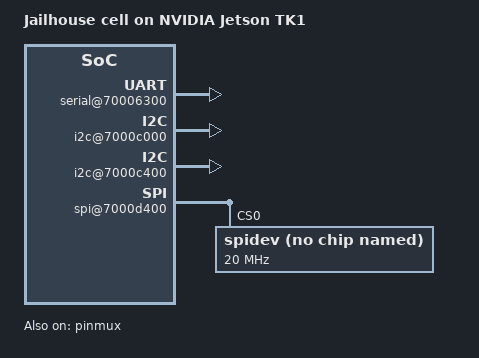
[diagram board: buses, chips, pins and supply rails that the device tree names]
/*
 * Jailhouse, a Linux-based partitioning hypervisor
 *
 * Device tree for Linux inmate test on Jetson TK1 board,
 * corresponds to configs/jetson-tk1-linux-demo.c
 *
 * Copyright (c) Siemens AG, 2016
 *
 * Authors:
 *  Jan Kiszka <jan.kiszka@siemens.com>
 *
 * This work is licensed under the terms of the GNU GPL, version 2.  See
 * the COPYING file in the top-level directory.
 */

#include <dt-bindings/interrupt-controller/arm-gic.h>
#include <dt-bindings/pinctrl/pinctrl-tegra.h>
#include <dt-bindings/gpio/tegra-gpio.h>

/dts-v1/;

/ {
	model = "Jailhouse cell on NVIDIA Jetson TK1";

	#address-cells = <1>;
	#size-cells = <1>;

	interrupt-parent = <&gic>;

	hypervisor {
		compatible = "jailhouse,cell";
	};

	aliases {
		spi0 = "/spi@7000d400";
	};

	cpus {
		#address-cells = <1>;
		#size-cells = <0>;

		cpu@2 {
			compatible = "arm,cortex-a15";
			device_type = "cpu";
			reg = <0x2>;
		};

		cpu@3 {
			compatible = "arm,cortex-a15";
			device_type = "cpu";
			reg = <0x3>;
		};
	};

	psci {
		compatible = "arm,psci-0.2";
		method = "smc";
	};

	gic: interrupt-controller@50041000 {
		compatible = "arm,cortex-a7-gic", "arm,cortex-a15-gic";
		reg = <0x50041000 0x1000>,
		      <0x50042000 0x1000>;
		interrupt-controller;
		#interrupt-cells = <3>;
	};

	timer {
		compatible = "arm,armv7-timer";
		interrupts = <GIC_PPI 13
				(GIC_CPU_MASK_SIMPLE(4) | IRQ_TYPE_LEVEL_LOW)>,
			     <GIC_PPI 14
				(GIC_CPU_MASK_SIMPLE(4) | IRQ_TYPE_LEVEL_LOW)>,
			     <GIC_PPI 11
				(GIC_CPU_MASK_SIMPLE(4) | IRQ_TYPE_LEVEL_LOW)>,
			     <GIC_PPI 10
				(GIC_CPU_MASK_SIMPLE(4) | IRQ_TYPE_LEVEL_LOW)>;
	};

	serial@70006300 {
		compatible = "nvidia,tegra124-uart", "nvidia,tegra20-uart";
		reg = <0x70006300 0x40>;
		reg-shift = <2>;
		interrupts = <GIC_SPI 90 IRQ_TYPE_LEVEL_HIGH>;
		clock-frequency = <408000000>;
		status = "okay";
	};

	jailhouse_car: clock@60006000 {
		compatible = "jailhouse,jailhouse-car";
		reg = <0x60006000 0x1000>;
		#clock-cells = <1>;
		#reset-cells = <1>;
	};

	apbdma: dma@60020000 {
		compatible = "nvidia,tegra124-apbdma", "nvidia,tegra148-apbdma";
		reg = <0x60020000 0x1400>;
		interrupts = <GIC_SPI 104 IRQ_TYPE_LEVEL_HIGH>,
			     <GIC_SPI 105 IRQ_TYPE_LEVEL_HIGH>,
			     <GIC_SPI 106 IRQ_TYPE_LEVEL_HIGH>,
			     <GIC_SPI 107 IRQ_TYPE_LEVEL_HIGH>,
			     <GIC_SPI 108 IRQ_TYPE_LEVEL_HIGH>,
			     <GIC_SPI 109 IRQ_TYPE_LEVEL_HIGH>,
			     <GIC_SPI 110 IRQ_TYPE_LEVEL_HIGH>,
			     <GIC_SPI 111 IRQ_TYPE_LEVEL_HIGH>,
			     <GIC_SPI 112 IRQ_TYPE_LEVEL_HIGH>,
			     <GIC_SPI 113 IRQ_TYPE_LEVEL_HIGH>,
			     <GIC_SPI 114 IRQ_TYPE_LEVEL_HIGH>,
			     <GIC_SPI 115 IRQ_TYPE_LEVEL_HIGH>,
			     <GIC_SPI 116 IRQ_TYPE_LEVEL_HIGH>,
			     <GIC_SPI 117 IRQ_TYPE_LEVEL_HIGH>,
			     <GIC_SPI 118 IRQ_TYPE_LEVEL_HIGH>,
			     <GIC_SPI 119 IRQ_TYPE_LEVEL_HIGH>,
			     <GIC_SPI 128 IRQ_TYPE_LEVEL_HIGH>,
			     <GIC_SPI 129 IRQ_TYPE_LEVEL_HIGH>,
			     <GIC_SPI 130 IRQ_TYPE_LEVEL_HIGH>,
			     <GIC_SPI 131 IRQ_TYPE_LEVEL_HIGH>,
			     <GIC_SPI 132 IRQ_TYPE_LEVEL_HIGH>,
			     <GIC_SPI 133 IRQ_TYPE_LEVEL_HIGH>,
			     <GIC_SPI 134 IRQ_TYPE_LEVEL_HIGH>,
			     <GIC_SPI 135 IRQ_TYPE_LEVEL_HIGH>,
			     <GIC_SPI 136 IRQ_TYPE_LEVEL_HIGH>,
			     <GIC_SPI 137 IRQ_TYPE_LEVEL_HIGH>,
			     <GIC_SPI 138 IRQ_TYPE_LEVEL_HIGH>,
			     <GIC_SPI 139 IRQ_TYPE_LEVEL_HIGH>,
			     <GIC_SPI 140 IRQ_TYPE_LEVEL_HIGH>,
			     <GIC_SPI 141 IRQ_TYPE_LEVEL_HIGH>,
			     <GIC_SPI 142 IRQ_TYPE_LEVEL_HIGH>,
			     <GIC_SPI 143 IRQ_TYPE_LEVEL_HIGH>;
		clocks = <&jailhouse_car 2>;
		resets = <&jailhouse_car 2>;
		reset-names = "dma";
		#dma-cells = <1>;
	};

	pinmux: pinmux@70000868 {
		compatible = "nvidia,tegra124-pinmux";
		reg = <0x70000868 0x164>, /* Pad control registers */
		      <0x70003000 0x434>, /* Mux registers */
		      <0x70000820 0x008>; /* MIPI pad control */
		status = "okay";

		pinctrl-names = "boot";
		pinctrl-0 = <&state_boot>;

		state_boot: pinmux {
			pu0 {
				nvidia,pins = "pu0";
				nvidia,pull = <TEGRA_PIN_PULL_NONE>;
				nvidia,tristate = <TEGRA_PIN_DISABLE>;
				nvidia,enable-input = <TEGRA_PIN_ENABLE>;
			};
		};
	};

	gpio: gpio@6000d000 {
		compatible = "nvidia,tegra124-gpio", "nvidia,tegra30-gpio";
		reg = <0x6000d000 0x1000>;

		interrupts = <GIC_SPI 32 IRQ_TYPE_LEVEL_HIGH>,
			     <GIC_SPI 33 IRQ_TYPE_LEVEL_HIGH>,
			     <GIC_SPI 34 IRQ_TYPE_LEVEL_HIGH>,
			     <GIC_SPI 35 IRQ_TYPE_LEVEL_HIGH>,
			     <GIC_SPI 55 IRQ_TYPE_LEVEL_HIGH>,
			     <GIC_SPI 87 IRQ_TYPE_LEVEL_HIGH>,
			     <GIC_SPI 89 IRQ_TYPE_LEVEL_HIGH>,
			     <GIC_SPI 125 IRQ_TYPE_LEVEL_HIGH>;

		#gpio-cells = <2>;
		gpio-controller;
		#interrupt-cells = <0>;
		interrupt-controller;
	};

	i2c@7000c000 {
		compatible = "nvidia,tegra124-i2c", "nvidia,tegra114-i2c";
		reg = <0x7000c000 0x100>;
		interrupts = <GIC_SPI 38 IRQ_TYPE_LEVEL_HIGH>;
		clocks = <&jailhouse_car 0>;
		clock-names = "div-clk";
		resets = <&jailhouse_car 0>;
		reset-names = "i2c";
		status = "okay";
	};

	i2c@7000c400 {
		compatible = "nvidia,tegra124-i2c", "nvidia,tegra114-i2c";
		reg = <0x7000c400 0x100>;
		interrupts = <GIC_SPI 84 IRQ_TYPE_LEVEL_HIGH>;
		clocks = <&jailhouse_car 1>;
		clock-names = "div-clk";
		resets = <&jailhouse_car 1>;
		reset-names = "i2c";
		status = "okay";
	};

	spi@7000d400 {
		compatible = "nvidia,tegra124-spi", "nvidia,tegra114-spi";
		reg = <0x7000d400 0x200>;
		interrupts = <GIC_SPI 59 IRQ_TYPE_LEVEL_HIGH>;
		clocks = <&jailhouse_car 3>;
		clock-names = "spi";
		resets = <&jailhouse_car 3>;
		reset-names = "spi";
		dmas = <&apbdma 15>, <&apbdma 15>;
		dma-names = "rx", "tx";
		status = "okay";

		cs-gpios = <0>;
		num-cs = <1>;

		#address-cells = <1>;
		#size-cells = <0>;
		spidev@0 {
			compatible = "spidev";
			reg = <0>;
			spi-max-frequency = <20000000>;
			status = "okay";
		};
	};

	vpci@48000000 {
		compatible = "pci-host-ecam-generic";
		device_type = "pci";
		bus-range = <0 0>;
		#address-cells = <3>;
		#size-cells = <2>;
		#interrupt-cells = <1>;
		interrupt-map-mask = <0 0 0 7>;
		interrupt-map = <0 0 0 1 &gic GIC_SPI 152 0>,
				<0 0 0 2 &gic GIC_SPI 153 0>,
				<0 0 0 3 &gic GIC_SPI 154 0>,
				<0 0 0 4 &gic GIC_SPI 155 0>;
		reg = <0x48000000 0x100000>;
		ranges =
			<0x02000000 0x00 0x10000000 0x10000000 0x00 0x10000>;
	};
};
